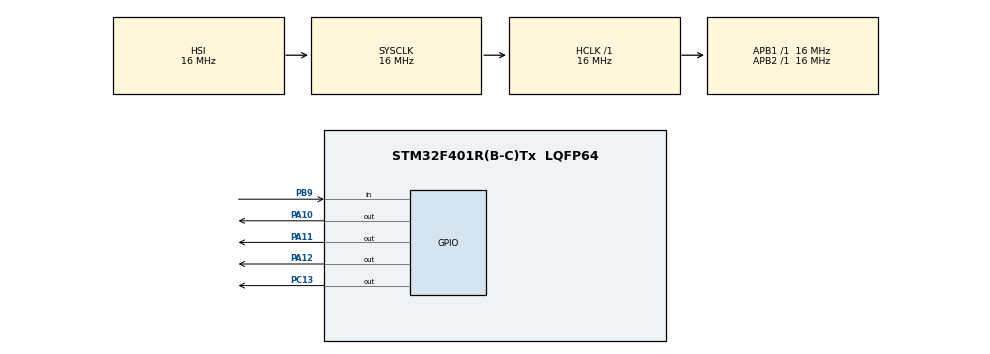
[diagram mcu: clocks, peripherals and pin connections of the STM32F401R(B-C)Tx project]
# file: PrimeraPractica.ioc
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Mcu.Family=STM32F4
Mcu.Name=STM32F401R(B-C)Tx
Mcu.Package=LQFP64
NVIC.PriorityGroup=NVIC_PRIORITYGROUP_4
PA10.Signal=GPIO_Output
PA11.Signal=GPIO_Output
PA12.Signal=GPIO_Output
PB9.Signal=GPIO_Input
PC13-ANTI_TAMP.Signal=GPIO_Output
ProjectManager.HeapSize=0x200
ProjectManager.StackSize=0x400
ProjectManager.TargetToolchain=STM32CubeIDE
RCC.48MHZClocksFreq_Value=48000000
RCC.AHBFreq_Value=16000000
RCC.APB1Freq_Value=16000000
RCC.APB2Freq_Value=16000000
RCC.CortexFreq_Value=16000000
RCC.HSE_VALUE=25000000
RCC.HSI_VALUE=16000000
RCC.LSE_VALUE=32768
RCC.SYSCLKFreq_VALUE=16000000
RCC.VCOOutputFreq_Value=192000000
board=custom

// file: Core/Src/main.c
/* USER CODE BEGIN Header */
/**
  ******************************************************************************
  * @file           : main.c
  * @brief          : Main program body
  ******************************************************************************
  * @attention
  *
  * Copyright (c) 2023 STMicroelectronics.
  * All rights reserved.
  *
  * This software is licensed under terms that can be found in the LICENSE file
  * in the root directory of this software component.
  * If no LICENSE file comes with this software, it is provided AS-IS.
  *
  ******************************************************************************
  */
/* USER CODE END Header */
#include "main.h"

void SystemClock_Config(void);
static void MX_GPIO_Init(void);

int main(void)
{

  /* MCU Configuration--------------------------------------------------------*/

  /* Reset of all peripherals, Initializes the Flash interface and the Systick. */
  HAL_Init();

  /* Configure the system clock */
  SystemClock_Config();

  /* Initialize all configured peripherals */
  MX_GPIO_Init();

  /* Infinite loop */
  /* USER CODE BEGIN WHILE */
  int t=200;
  char estado=0;

  while (1)
  {
    /* USER CODE END WHILE */

    /* USER CODE BEGIN 3 */
	  if(HAL_GPIO_ReadPin(GPIOB, GPIO_PIN_8)==1)estado=!estado;
	  if(estado)
		{
		  HAL_GPIO_TogglePin(GPIOA, GPIO_PIN_10);
		  HAL_GPIO_TogglePin(GPIOC, GPIO_PIN_13);
		  HAL_Delay(t);
		  HAL_GPIO_TogglePin(GPIOA, GPIO_PIN_10);
		  HAL_Delay(t);
		  HAL_GPIO_TogglePin(GPIOA, GPIO_PIN_11);
		  HAL_Delay(t);
		  HAL_GPIO_TogglePin(GPIOA, GPIO_PIN_11);
		  HAL_Delay(t);
		  HAL_GPIO_TogglePin(GPIOA, GPIO_PIN_12);
		  HAL_Delay(t);
		  HAL_GPIO_TogglePin(GPIOA, GPIO_PIN_12);
		  HAL_GPIO_TogglePin(GPIOC, GPIO_PIN_13);
		  HAL_Delay(t);
		}
	  else
	  	  {
	 	  HAL_GPIO_TogglePin(GPIOA, GPIO_PIN_10);
	 	  HAL_Delay(t);
	 	  HAL_GPIO_TogglePin(GPIOA, GPIO_PIN_10);
	 	  HAL_Delay(t);
	 	  HAL_GPIO_TogglePin(GPIOA, GPIO_PIN_12);
	 	  HAL_Delay(t);
	 	  HAL_GPIO_TogglePin(GPIOA, GPIO_PIN_12);
	 	  HAL_Delay(t);
	 	  HAL_GPIO_TogglePin(GPIOA, GPIO_PIN_11);
	 	  HAL_Delay(t);
	 	  HAL_GPIO_TogglePin(GPIOA, GPIO_PIN_11);
	 	  HAL_Delay(t);
	 	  }
  }
  /* USER CODE END 3 */
}

void SystemClock_Config(void)
{
  RCC_OscInitTypeDef RCC_OscInitStruct = {0};
  RCC_ClkInitTypeDef RCC_ClkInitStruct = {0};

  /** Configure the main internal regulator output voltage
  */
  __HAL_RCC_PWR_CLK_ENABLE();
  __HAL_PWR_VOLTAGESCALING_CONFIG(PWR_REGULATOR_VOLTAGE_SCALE2);

  /** Initializes the RCC Oscillators according to the specified parameters
  * in the RCC_OscInitTypeDef structure.
  */
  RCC_OscInitStruct.OscillatorType = RCC_OSCILLATORTYPE_HSI;
  RCC_OscInitStruct.HSIState = RCC_HSI_ON;
  RCC_OscInitStruct.HSICalibrationValue = RCC_HSICALIBRATION_DEFAULT;
  RCC_OscInitStruct.PLL.PLLState = RCC_PLL_NONE;
  if (HAL_RCC_OscConfig(&RCC_OscInitStruct) != HAL_OK)
  {
    Error_Handler();
  }

  /** Initializes the CPU, AHB and APB buses clocks
  */
  RCC_ClkInitStruct.ClockType = RCC_CLOCKTYPE_HCLK|RCC_CLOCKTYPE_SYSCLK
                              |RCC_CLOCKTYPE_PCLK1|RCC_CLOCKTYPE_PCLK2;
  RCC_ClkInitStruct.SYSCLKSource = RCC_SYSCLKSOURCE_HSI;
  RCC_ClkInitStruct.AHBCLKDivider = RCC_SYSCLK_DIV1;
  RCC_ClkInitStruct.APB1CLKDivider = RCC_HCLK_DIV1;
  RCC_ClkInitStruct.APB2CLKDivider = RCC_HCLK_DIV1;

  if (HAL_RCC_ClockConfig(&RCC_ClkInitStruct, FLASH_LATENCY_0) != HAL_OK)
  {
    Error_Handler();
  }
}

static void MX_GPIO_Init(void)
{
  GPIO_InitTypeDef GPIO_InitStruct = {0};

  /* GPIO Ports Clock Enable */
  __HAL_RCC_GPIOC_CLK_ENABLE();
  __HAL_RCC_GPIOA_CLK_ENABLE();
  __HAL_RCC_GPIOB_CLK_ENABLE();

  /*Configure GPIO pin Output Level */
  HAL_GPIO_WritePin(GPIOC, GPIO_PIN_13, GPIO_PIN_RESET);

  /*Configure GPIO pin Output Level */
  HAL_GPIO_WritePin(GPIOA, GPIO_PIN_10|GPIO_PIN_11|GPIO_PIN_12, GPIO_PIN_RESET);

  /*Configure GPIO pin : PC13 */
  GPIO_InitStruct.Pin = GPIO_PIN_13;
  GPIO_InitStruct.Mode = GPIO_MODE_OUTPUT_PP;
  GPIO_InitStruct.Pull = GPIO_NOPULL;
  GPIO_InitStruct.Speed = GPIO_SPEED_FREQ_LOW;
  HAL_GPIO_Init(GPIOC, &GPIO_InitStruct);

  /*Configure GPIO pins : PA10 PA11 PA12 */
  GPIO_InitStruct.Pin = GPIO_PIN_10|GPIO_PIN_11|GPIO_PIN_12;
  GPIO_InitStruct.Mode = GPIO_MODE_OUTPUT_PP;
  GPIO_InitStruct.Pull = GPIO_NOPULL;
  GPIO_InitStruct.Speed = GPIO_SPEED_FREQ_LOW;
  HAL_GPIO_Init(GPIOA, &GPIO_InitStruct);

  /*Configure GPIO pin : PB9 */
  GPIO_InitStruct.Pin = GPIO_PIN_9;
  GPIO_InitStruct.Mode = GPIO_MODE_INPUT;
  GPIO_InitStruct.Pull = GPIO_NOPULL;
  HAL_GPIO_Init(GPIOB, &GPIO_InitStruct);

}

void Error_Handler(void)
{
  __disable_irq();
  while (1)
  {
  }
}
